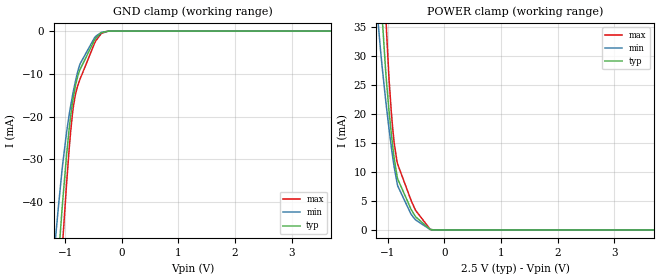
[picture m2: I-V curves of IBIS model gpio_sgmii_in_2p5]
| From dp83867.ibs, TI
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|   gpio_sgmii_in_2p5 Model
[Model]   gpio_sgmii_in_2p5
Model_type   Input
Vinl = 0.7
Vinh = 1.7
|   typ   min   max
|   (nom PVT)   (fast PVT)   (slow PVT)
C_comp   6.601E-12   4.588E-12   8.864E-12
| Where nom  PVT is Nominal Process, 2.5V, 27C
|   Fast PVT is Strong Process,  2.625V, -40C
|   Slow PVT is Weak Process,   2.375V, 125C
[Voltage Range]   2.5   2.375   2.625
|Junction Temperature
[Temperature Range]   27   125   -40
[Power Clamp Reference]   2.5   2.375   2.625
[GND Clamp Reference]   0   0   0
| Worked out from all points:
|   GND clamp passes 1 mA (typ) near -0.41 V on its own axis
[GND Clamp]
|   Voltage   I(typ)   I(min)   I(max)
-2.5V     -327.1mA   -271mA     -377.5mA
-1.17V    -62.39mA   -48.46mA   -76.31mA
-1.122V   -53.55mA   -41.46mA   -65.87mA
-1.056V   -41.98mA   -32.69mA   -51.96mA
-1.039V   -39.13mA   -30.63mA   -48.48mA
-972.5mV  -28.67mA   -23.44mA   -35.29mA
-901.4mV  -19.76mA   -17.38mA   -23.29mA
-817.5mV  -12.73mA   -11.67mA   -14.73mA
-737.5mV  -8.993mA   -7.687mA   -11.24mA
-481.3mV  -2.103mA   -1.555mA   -2.876mA
-360.6mV  -385.1uA   -304.9uA   -548.1uA
5V        0A         0A         0A
[POWER Clamp]
|   Voltage   I(typ)   I(min)   I(max)
-2.5V     386mA      304.8mA    468mA
-1.173V   51.16mA    36.29mA    71.92mA
-1.127V   42.25mA    31.2mA     59.92mA
-1.095V   36.48mA    27.95mA    51.69mA
-1.02V    25.55mA    21.13mA    34.34mA
-977.5mV  20.75mA    17.6mA     26.4mA
-932.9mV  16.41mA    14.17mA    20.04mA
-883mV    12.29mA    10.78mA    14.91mA
-835.1mV  9.371mA    8.166mA    11.85mA
-585.7mV  3.552mA    2.703mA    5.097mA
-250mV    76.99uA    89.91uA    132.3uA
5V        0A         0A         0A
